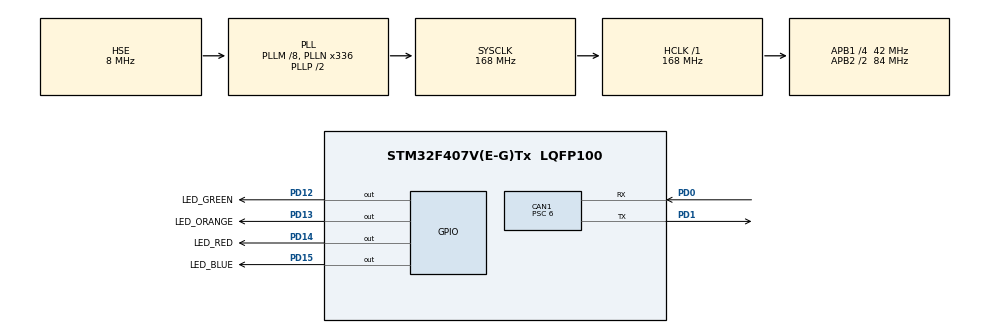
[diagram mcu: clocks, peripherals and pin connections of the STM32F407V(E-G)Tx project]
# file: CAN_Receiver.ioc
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CAN1.ABOM=ENABLE
CAN1.BS1=CAN_BS1_11TQ
CAN1.BS2=CAN_BS2_2TQ
CAN1.CalculateBaudRate=500000
CAN1.CalculateTimeBit=2000
CAN1.CalculateTimeQuantum=142.85714285714286
CAN1.NART=ENABLE
CAN1.Prescaler=6
Mcu.Family=STM32F4
Mcu.Name=STM32F407V(E-G)Tx
Mcu.Package=LQFP100
NVIC.CAN1_RX0_IRQn=true\:0\:0\:false\:false\:true\:true\:true\:true
NVIC.PriorityGroup=NVIC_PRIORITYGROUP_0
PA13.Mode=Serial_Wire
PA13.Signal=SYS_JTMS-SWDIO
PA14.Mode=Serial_Wire
PA14.Signal=SYS_JTCK-SWCLK
PD0.Mode=CAN_Activate
PD0.Signal=CAN1_RX
PD1.Mode=CAN_Activate
PD1.Signal=CAN1_TX
PD12.GPIO_Label=LED_GREEN
PD12.Signal=GPIO_Output
PD13.GPIO_Label=LED_ORANGE
PD13.Signal=GPIO_Output
PD14.GPIO_Label=LED_RED
PD14.Signal=GPIO_Output
PD15.GPIO_Label=LED_BLUE
PD15.Signal=GPIO_Output
PH0-OSC_IN.Mode=HSE-External-Oscillator
PH0-OSC_IN.Signal=RCC_OSC_IN
PH1-OSC_OUT.Mode=HSE-External-Oscillator
PH1-OSC_OUT.Signal=RCC_OSC_OUT
ProjectManager.HeapSize=0x200
ProjectManager.StackSize=0x400
ProjectManager.TargetToolchain=STM32CubeIDE
RCC.48MHZClocksFreq_Value=48000000
RCC.AHBFreq_Value=168000000
RCC.APB1CLKDivider=RCC_HCLK_DIV4
RCC.APB1Freq_Value=42000000
RCC.APB1TimFreq_Value=84000000
RCC.APB2CLKDivider=RCC_HCLK_DIV2
RCC.APB2Freq_Value=84000000
RCC.APB2TimFreq_Value=168000000
RCC.CortexFreq_Value=168000000
RCC.HCLKFreq_Value=168000000
RCC.HSE_VALUE=8000000
RCC.HSI_VALUE=16000000
RCC.LSE_VALUE=32768
RCC.PLLM=8
RCC.PLLN=336
RCC.PLLQ=7
RCC.PLLSourceVirtual=RCC_PLLSOURCE_HSE
RCC.SYSCLKFreq_VALUE=168000000
RCC.SYSCLKSource=RCC_SYSCLKSOURCE_PLLCLK
RCC.VCOOutputFreq_Value=336000000
board=STM32F407G-DISC1

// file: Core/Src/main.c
/* USER CODE BEGIN Header */
/**
  ******************************************************************************
  * @file           : main.c
  * @brief          : Main program body
  ******************************************************************************
  * @attention
  *
  * Copyright (c) 2026 STMicroelectronics.
  * All rights reserved.
  *
  * This software is licensed under terms that can be found in the LICENSE file
  * in the root directory of this software component.
  * If no LICENSE file comes with this software, it is provided AS-IS.
  *
  ******************************************************************************
  */
/* USER CODE END Header */
#include "main.h"

CAN_HandleTypeDef hcan1;

/* USER CODE BEGIN PV */

CAN_RxHeaderTypeDef RxHeader;   // Will be filled by HAL with the received frame's ID, DLC, etc.
uint8_t RxData[8];              // Buffer for the received payload (CAN max = 8 bytes)

/* USER CODE END PV */

void SystemClock_Config(void);
static void MX_GPIO_Init(void);
static void MX_CAN1_Init(void);

int main(void)
{

  /* MCU Configuration--------------------------------------------------------*/

  /* Reset of all peripherals, Initializes the Flash interface and the Systick. */
  HAL_Init();

  /* Configure the system clock */
  SystemClock_Config();

  /* Initialize all configured peripherals */
  MX_GPIO_Init();
  MX_CAN1_Init();
  /* USER CODE BEGIN 2 */

  // ---- Configure the reception filter ----
  // Without a filter, the CAN hardware rejects everything, so this is mandatory.
  CAN_FilterTypeDef canFilter;

  canFilter.FilterBank = 0;                         // Use filter bank 0 (banks 0-13 belong to CAN1 by default)
  canFilter.FilterMode = CAN_FILTERMODE_IDMASK;     // ID + mask mode: the mask selects which ID bits are compared
  canFilter.FilterScale = CAN_FILTERSCALE_32BIT;    // One 32-bit filter (ID + mask)

  // In 32-bit scale, a standard 11-bit ID sits in the top bits of the register,
  // so it must be shifted left by 5 (the lowest 5 bits are for the extended ID part).
  canFilter.FilterIdHigh     = 0x123 << 5;          // We accept ID 0x123 (the same ID the transmitter uses)
  canFilter.FilterIdLow      = 0x0000;              // IDE = 0 (standard ID), RTR = 0 (data frame)

  canFilter.FilterMaskIdHigh = 0x7FF << 5;          // Mask: all 11 ID bits must match exactly
  canFilter.FilterMaskIdLow  = 0x0004;              // Also compare the IDE bit, so extended frames are rejected

  canFilter.FilterFIFOAssignment = CAN_RX_FIFO0;    // Accepted frames go to FIFO 0
  canFilter.FilterActivation = ENABLE;              // Turn this filter on
  canFilter.SlaveStartFilterBank = 14;              // Filter banks 14-27 are reserved for CAN2 (unused here)

  if (HAL_CAN_ConfigFilter(&hcan1, &canFilter) != HAL_OK)
  {
      HAL_GPIO_WritePin(LED_RED_GPIO_Port, LED_RED_Pin, GPIO_PIN_SET); // Red = filter error
      Error_Handler();
  }

  // ---- Start the CAN peripheral (the filter must be configured BEFORE this) ----
  if (HAL_CAN_Start(&hcan1) != HAL_OK)
  {
      HAL_GPIO_WritePin(LED_RED_GPIO_Port, LED_RED_Pin, GPIO_PIN_SET); // Red = start error
      Error_Handler();
  }

  // ---- Enable the interrupt: "a message is pending in FIFO 0" ----
  if (HAL_CAN_ActivateNotification(&hcan1, CAN_IT_RX_FIFO0_MSG_PENDING) != HAL_OK)
  {
      HAL_GPIO_WritePin(LED_RED_GPIO_Port, LED_RED_Pin, GPIO_PIN_SET);
      Error_Handler();
  }

  // Blue LED ON = CAN started correctly and we're listening
  HAL_GPIO_WritePin(LED_BLUE_GPIO_Port, LED_BLUE_Pin, GPIO_PIN_SET);

  /* USER CODE END 2 */

  /* Infinite loop */
  while (1)
  {

  }
}

void SystemClock_Config(void)
{
  RCC_OscInitTypeDef RCC_OscInitStruct = {0};
  RCC_ClkInitTypeDef RCC_ClkInitStruct = {0};

  /** Configure the main internal regulator output voltage
  */
  __HAL_RCC_PWR_CLK_ENABLE();
  __HAL_PWR_VOLTAGESCALING_CONFIG(PWR_REGULATOR_VOLTAGE_SCALE1);

  /** Initializes the RCC Oscillators according to the specified parameters
  * in the RCC_OscInitTypeDef structure.
  */
  RCC_OscInitStruct.OscillatorType = RCC_OSCILLATORTYPE_HSE;
  RCC_OscInitStruct.HSEState = RCC_HSE_ON;
  RCC_OscInitStruct.PLL.PLLState = RCC_PLL_ON;
  RCC_OscInitStruct.PLL.PLLSource = RCC_PLLSOURCE_HSE;
  RCC_OscInitStruct.PLL.PLLM = 8;
  RCC_OscInitStruct.PLL.PLLN = 336;
  RCC_OscInitStruct.PLL.PLLP = RCC_PLLP_DIV2;
  RCC_OscInitStruct.PLL.PLLQ = 7;
  if (HAL_RCC_OscConfig(&RCC_OscInitStruct) != HAL_OK)
  {
    Error_Handler();
  }

  /** Initializes the CPU, AHB and APB buses clocks
  */
  RCC_ClkInitStruct.ClockType = RCC_CLOCKTYPE_HCLK|RCC_CLOCKTYPE_SYSCLK
                              |RCC_CLOCKTYPE_PCLK1|RCC_CLOCKTYPE_PCLK2;
  RCC_ClkInitStruct.SYSCLKSource = RCC_SYSCLKSOURCE_PLLCLK;
  RCC_ClkInitStruct.AHBCLKDivider = RCC_SYSCLK_DIV1;
  RCC_ClkInitStruct.APB1CLKDivider = RCC_HCLK_DIV4;
  RCC_ClkInitStruct.APB2CLKDivider = RCC_HCLK_DIV2;

  if (HAL_RCC_ClockConfig(&RCC_ClkInitStruct, FLASH_LATENCY_5) != HAL_OK)
  {
    Error_Handler();
  }
}

static void MX_CAN1_Init(void)
{

  hcan1.Instance = CAN1;
  hcan1.Init.Prescaler = 6;
  hcan1.Init.Mode = CAN_MODE_NORMAL;
  hcan1.Init.SyncJumpWidth = CAN_SJW_1TQ;
  hcan1.Init.TimeSeg1 = CAN_BS1_11TQ;
  hcan1.Init.TimeSeg2 = CAN_BS2_2TQ;
  hcan1.Init.TimeTriggeredMode = DISABLE;
  hcan1.Init.AutoBusOff = ENABLE;
  hcan1.Init.AutoWakeUp = DISABLE;
  hcan1.Init.AutoRetransmission = ENABLE;
  hcan1.Init.ReceiveFifoLocked = DISABLE;
  hcan1.Init.TransmitFifoPriority = DISABLE;
  if (HAL_CAN_Init(&hcan1) != HAL_OK)
  {
    Error_Handler();
  }

}

static void MX_GPIO_Init(void)
{
  GPIO_InitTypeDef GPIO_InitStruct = {0};

  /* GPIO Ports Clock Enable */
  __HAL_RCC_GPIOH_CLK_ENABLE();
  __HAL_RCC_GPIOD_CLK_ENABLE();
  __HAL_RCC_GPIOA_CLK_ENABLE();

  /*Configure GPIO pin Output Level */
  HAL_GPIO_WritePin(GPIOD, LED_GREEN_Pin|LED_ORANGE_Pin|LED_RED_Pin|LED_BLUE_Pin, GPIO_PIN_RESET);

  /*Configure GPIO pins : LED_GREEN_Pin LED_ORANGE_Pin LED_RED_Pin LED_BLUE_Pin */
  GPIO_InitStruct.Pin = LED_GREEN_Pin|LED_ORANGE_Pin|LED_RED_Pin|LED_BLUE_Pin;
  GPIO_InitStruct.Mode = GPIO_MODE_OUTPUT_PP;
  GPIO_InitStruct.Pull = GPIO_NOPULL;
  GPIO_InitStruct.Speed = GPIO_SPEED_FREQ_LOW;
  HAL_GPIO_Init(GPIOD, &GPIO_InitStruct);

}

/* USER CODE BEGIN 4 */

// Called by HAL automatically when a frame has arrived in FIFO 0 and passed the filter
void HAL_CAN_RxFifo0MsgPendingCallback(CAN_HandleTypeDef *hcan)
{
    // Read the frame out of the FIFO: header goes in RxHeader, payload in RxData
    if (HAL_CAN_GetRxMessage(hcan, CAN_RX_FIFO0, &RxHeader, RxData) != HAL_OK)
    {
        HAL_GPIO_WritePin(LED_RED_GPIO_Port, LED_RED_Pin, GPIO_PIN_SET); // Red = read error
        return;
    }

    // Green toggles on every frame received (proof that something arrived)
    HAL_GPIO_TogglePin(LED_GREEN_GPIO_Port, LED_GREEN_Pin);

    // Check that the content is what the transmitter sends:
    // ID 0x123, 4 data bytes, and the fixed bytes AA BB CC
    if (RxHeader.StdId == 0x123 && RxHeader.DLC == 4 &&
        RxData[0] == 0xAA && RxData[1] == 0xBB && RxData[2] == 0xCC)
    {
        // Orange ON = the data is correct
        HAL_GPIO_WritePin(LED_ORANGE_GPIO_Port, LED_ORANGE_Pin, GPIO_PIN_SET);
    }
    else
    {
        // Wrong data -> orange OFF
        HAL_GPIO_WritePin(LED_ORANGE_GPIO_Port, LED_ORANGE_Pin, GPIO_PIN_RESET);
    }
}

/* USER CODE END 4 */

void Error_Handler(void)
{
  __disable_irq();
  while (1)
  {
  }
}
